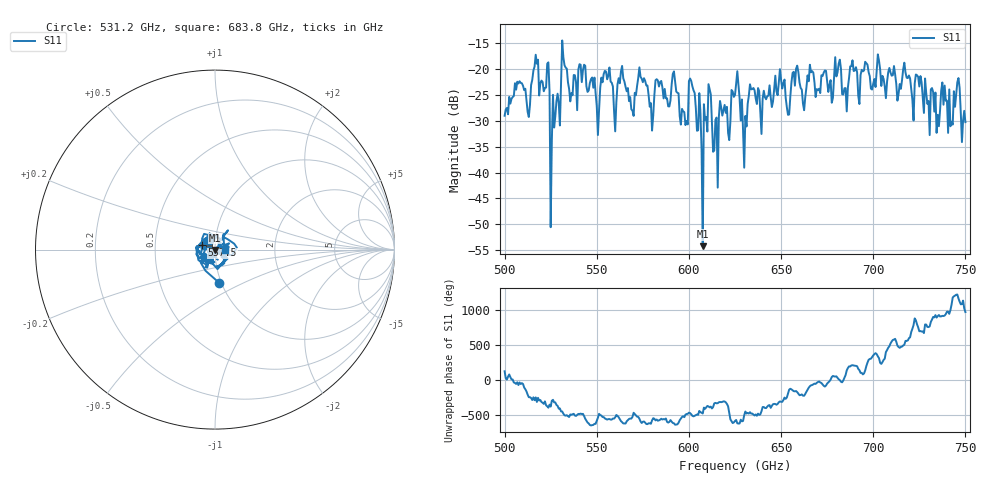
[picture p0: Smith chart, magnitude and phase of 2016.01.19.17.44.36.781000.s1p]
!Created with skrf (http://scikit-rf.org).
# GHz S RI R 50.0
!freq ReS11 ImS11
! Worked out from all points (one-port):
!   401 points, 500 GHz to 750 GHz, reference 50 ohm
!   lowest |S11| = -54.2 dB at 607.5 GHz (marker M1), VSWR 1.00, Z = 49.9 - j0.181 ohm
!   |S11| at or under -10 dB: start of sweep to end of sweep
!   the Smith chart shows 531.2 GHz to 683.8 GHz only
!   S11 on the Smith chart (normalised r, x): 531.2 GHz: 0.98, -0.38; 557.5 GHz: 0.87, +0.04; 683.8 GHz: 1.12, +0.00
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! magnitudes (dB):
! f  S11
! 500 GHz  -29.1
! 508.1 GHz  -22.4
! 513.1 GHz  -29.3
! 516.9 GHz  -17.3
! 523.1 GHz  -19.0
! 526.2 GHz  -25.0
! 531.2 GHz  -14.5
! 550.6 GHz  -32.8
! 557.5 GHz  -22.4
! 560 GHz  -32.1
! 562.5 GHz  -22.8
! 568.8 GHz  -27.8
! 573.8 GHz  -21.5
! 579.4 GHz  -26.6
! 593.8 GHz  -24.6
! 598.1 GHz  -30.9
! 601.2 GHz  -22.3
! 607.5 GHz  -54.2
! 610.6 GHz  -23.0
! 614.4 GHz  -29.9
! 625 GHz  -25.0
! 630.6 GHz  -29.1
! 633.8 GHz  -24.0
! 656.2 GHz  -20.8
! 683.8 GHz  -25.0
! 687.5 GHz  -19.5
! 718.8 GHz  -21.8
! 750 GHz  -30.3
